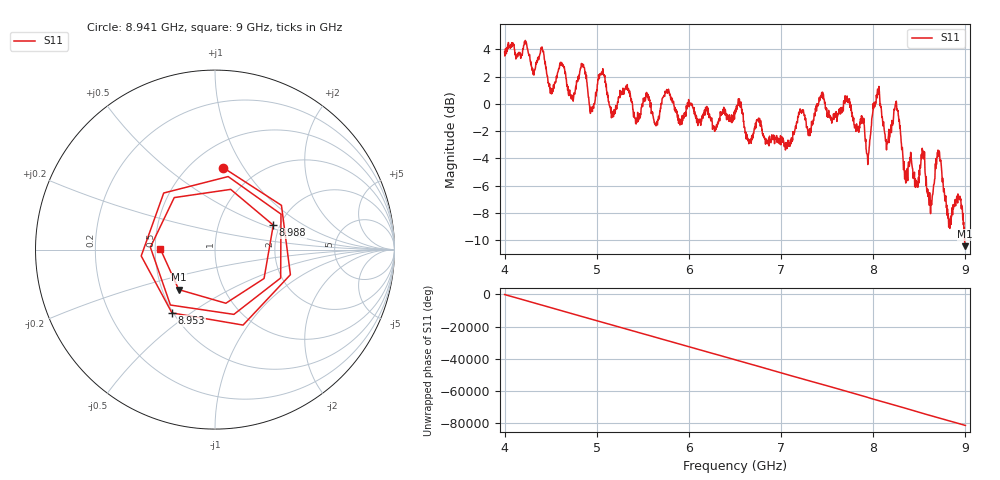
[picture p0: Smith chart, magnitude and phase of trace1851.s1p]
! Created with skrf 1.8.0 (http://scikit-rf.org).
# Hz S RI R 50.0
!freq ReS11 ImS11
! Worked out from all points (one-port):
!   1601 points, 4 GHz to 9 GHz, reference 50 ohm
!   lowest |S11| = -10.4 dB at 8.997 GHz (marker M1), VSWR 1.86, Z = 30.4 - j14.9 ohm
!   |S11| at or under -10 dB: 8.991233 GHz to end of sweep
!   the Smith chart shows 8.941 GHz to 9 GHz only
!   S11 on the Smith chart (normalised r, x): 8.941 GHz: 0.71, +0.82; 8.953 GHz: 0.49, -0.42; 8.988 GHz: 1.85, +0.57; 9 GHz: 0.53, +0.00
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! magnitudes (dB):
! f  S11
! 4 GHz  3.8
! 4.406 GHz  4.2
! 4.509 GHz  0.7
! 4.625 GHz  2.9
! 4.734 GHz  0.4
! 4.853 GHz  2.9
! 4.944 GHz  -0.4
! 5.044 GHz  2.2
! 5.169 GHz  -1.0
! 5.25 GHz  0.5
! 5.875 GHz  -1.0
! 6.5 GHz  -0.7
! 7.125 GHz  -2.7
! 7.75 GHz  0.1
! 7.938 GHz  -3.9
! 8.044 GHz  0.8
! 8.153 GHz  -2.8
! 8.25 GHz  0.2
! 8.375 GHz  -5.6
! 8.538 GHz  -3.5
! 8.622 GHz  -8.1
! 8.712 GHz  -3.6
! 8.825 GHz  -8.8
! 8.941 GHz  -6.8
! 8.953 GHz  -7.4
! 8.988 GHz  -9.1
! 8.997 GHz  -10.4
! 9 GHz  -10.3
